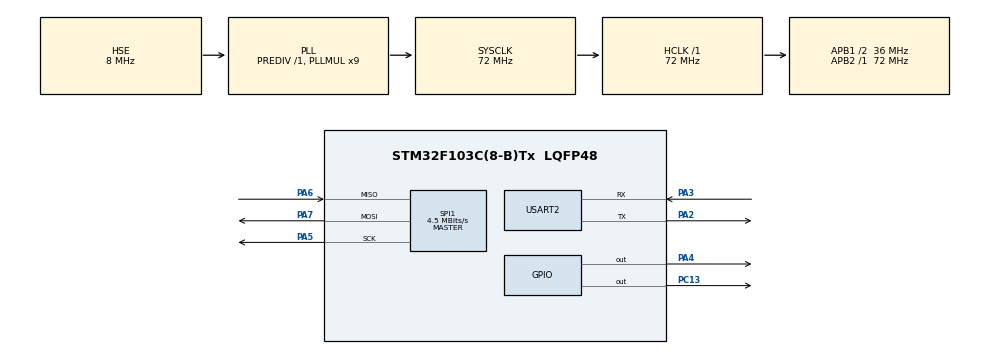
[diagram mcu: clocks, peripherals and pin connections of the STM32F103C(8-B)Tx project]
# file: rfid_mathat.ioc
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Mcu.Family=STM32F1
Mcu.Name=STM32F103C(8-B)Tx
Mcu.Package=LQFP48
NVIC.PriorityGroup=NVIC_PRIORITYGROUP_4
PA13.Mode=Serial_Wire
PA13.Signal=SYS_JTMS-SWDIO
PA14.Mode=Serial_Wire
PA14.Signal=SYS_JTCK-SWCLK
PA2.Mode=Asynchronous
PA2.Signal=USART2_TX
PA3.Mode=Asynchronous
PA3.Signal=USART2_RX
PA4.Signal=GPIO_Output
PA5.Mode=Full_Duplex_Master
PA5.Signal=SPI1_SCK
PA6.Mode=Full_Duplex_Master
PA6.Signal=SPI1_MISO
PA7.Mode=Full_Duplex_Master
PA7.Signal=SPI1_MOSI
PC13-TAMPER-RTC.Signal=GPIO_Output
PD0-OSC_IN.Mode=HSE-External-Oscillator
PD0-OSC_IN.Signal=RCC_OSC_IN
PD1-OSC_OUT.Mode=HSE-External-Oscillator
PD1-OSC_OUT.Signal=RCC_OSC_OUT
ProjectManager.HeapSize=0x200
ProjectManager.StackSize=0x400
ProjectManager.TargetToolchain=STM32CubeIDE
RCC.AHBFreq_Value=72000000
RCC.APB1CLKDivider=RCC_HCLK_DIV2
RCC.APB1Freq_Value=36000000
RCC.APB1TimFreq_Value=72000000
RCC.APB2Freq_Value=72000000
RCC.APB2TimFreq_Value=72000000
RCC.HCLKFreq_Value=72000000
RCC.PLLMUL=RCC_PLL_MUL9
RCC.PLLSourceVirtual=RCC_PLLSOURCE_HSE
RCC.SYSCLKFreq_VALUE=72000000
RCC.SYSCLKSource=RCC_SYSCLKSOURCE_PLLCLK
RCC.USBFreq_Value=72000000
SPI1.BaudRatePrescaler=SPI_BAUDRATEPRESCALER_16
SPI1.CalculateBaudRate=4.5 MBits/s
SPI1.Direction=SPI_DIRECTION_2LINES
SPI1.Mode=SPI_MODE_MASTER
SPI1.VirtualType=VM_MASTER
USART2.VirtualMode=VM_ASYNC
board=custom

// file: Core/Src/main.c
/* USER CODE BEGIN Header */
/**
 ******************************************************************************
 * @file           : main.c
 * @brief          : Main program body
 ******************************************************************************
 * @attention
 *
 * Copyright (c) 2023 STMicroelectronics.
 * All rights reserved.
 *
 * This software is licensed under terms that can be found in the LICENSE file
 * in the root directory of this software component.
 * If no LICENSE file comes with this software, it is provided AS-IS.
 *
 ******************************************************************************
 */
/* USER CODE END Header */
#include "main.h"
#include "rc522.h"
#include "stdio.h"
#include <string.h>
#include <stdlib.h>

SPI_HandleTypeDef hspi1;

UART_HandleTypeDef huart2;
#define AUTH_ERR 4
#define TAG_SELECT_ERR 3
#define ANTICOL_ERR 2
#define REQUEST_ERR 1
#define READ_ERR 5
#define WRITE_ERR 6

uint8_t FinalData[255];
void SystemClock_Config(void);
static void MX_GPIO_Init(void);
static void MX_SPI1_Init(void);
static void MX_USART2_UART_Init(void);

/* USER CODE BEGIN 0 */
uint8_t MFRC522_Check(uint8_t *id);
uint8_t MFRC522_Compare(uint8_t *CardID, uint8_t *CompareID);
void MFRC522_WriteRegister(uint8_t addr, uint8_t val);
uint8_t MFRC522_ReadRegister(uint8_t addr);
void MFRC522_SetBitMask(uint8_t reg, uint8_t mask);
void MFRC522_ClearBitMask(uint8_t reg, uint8_t mask);
uint8_t MFRC522_Request(uint8_t reqMode, uint8_t *TagType);
uint8_t MFRC522_ToCard(uint8_t command, uint8_t *sendData, uint8_t sendLen,
		uint8_t *backData, uint16_t *backLen);
uint8_t MFRC522_Anticoll(uint8_t *serNum);
void MFRC522_CalulateCRC(uint8_t *pIndata, uint8_t len, uint8_t *pOutData);
uint8_t MFRC522_SelectTag(uint8_t *serNum);
uint8_t MFRC522_Auth(uint8_t authMode, uint8_t BlockAddr, uint8_t *Sectorkey,
		uint8_t *serNum);
uint8_t MFRC522_Read(uint8_t blockAddr, uint8_t *recvData);
uint8_t MFRC522_Write(uint8_t blockAddr, uint8_t *writeData);
void MFRC522_Init(void);
void MFRC522_Reset(void);
void MFRC522_AntennaOn(void);
void MFRC522_AntennaOff(void);
void MFRC522_Halt(void);
/* USER CODE END 0 */

void led(uint8_t n) {
	for (uint8_t i = 0; i < n; i++) {
		HAL_GPIO_WritePin(GPIOC, GPIO_PIN_13, GPIO_PIN_RESET);    // LED1 ON
		HAL_Delay(100);
		HAL_GPIO_WritePin(GPIOC, GPIO_PIN_13, GPIO_PIN_SET);    // LED1 OFF
		HAL_Delay(100);
	}
}

void cardOperation(uint8_t* finalData){

	uint8_t status;
	uint8_t sectorKeyA[16][16] = { { 0xFF, 0xFF, 0xFF, 0xFF, 0xFF, 0xFF }, { 0xFF,
			0xFF, 0xFF, 0xFF, 0xFF, 0xFF }, { 0xFF, 0xFF, 0xFF, 0xFF, 0xFF, 0xFF },
			{ 0xFF, 0xFF, 0xFF, 0xFF, 0xFF, 0xFF }, };

	uint8_t str[MFRC522_MAX_LEN];
	uint8_t str1[128];
	uint8_t l;
	uint8_t cardIDStatus = 0;
	uint8_t cardReadStatus = 0;
	uint8_t cardWriteStatus = 0;
	uint8_t *p;
	uint8_t IDBuff[64];
	uint8_t WriteDataBuff[64];
	uint8_t ReadDataBuff[64];

	uint8_t* generate_random() { //this will generate random number in range 55 to 126 than converted to ASCII
		uint8_t i;
		static uint8_t chars[20];

		srand(HAL_GetTick());

		for (i = 0; i < 16; i++) {
			uint8_t rand_num = (rand() % (126 - 55 + 1)) + 55;
			chars[i] = rand_num;
		}
		return chars;

	}

	while (cardWriteStatus == 0 && cardIDStatus == 0 && cardReadStatus == 0) {
		MFRC522_Init();
		if (!MFRC522_Request(PICC_REQIDL, str)) {
			if (!MFRC522_Anticoll(str)) {

				sprintf((char*) IDBuff, "{\"terminalID\":\"164522975789130\", cardID:\"%x%x%x%x%x\", ", str[0],str[1], str[2], str[3], str[4]);

				l = strlen((char*)IDBuff);

				memcpy(finalData, IDBuff, l);

				cardIDStatus = 1;

			}
		}

	}

	p = generate_random();

	HAL_Delay(20);
	MFRC522_Init();
	while (cardReadStatus == 0 && cardIDStatus == 1 && cardWriteStatus == 0) {
		MFRC522_Init();
		status = MFRC522_Request(PICC_REQIDL, str);
		if (status == MI_OK) {
			status = MFRC522_Anticoll(str);
			if (status == MI_OK) {
				status = MFRC522_SelectTag(str);
				if (status != 0) {
					status = MFRC522_Auth(PICC_AUTHENT1A, 2, sectorKeyA[2],
							str); //authenticate card
					if (status == MI_OK) {
						status = MFRC522_Read(2, str1); //read the 2 sector
						if (status == MI_OK) {

							sprintf((char*) ReadDataBuff, "\"currentToken\": \"%c%c%c%c%c%c%c%c%c%c%c%c%c%c%c%c\", ", str1[0], str1[1], str1[2], str1[3], str1[4], str1[5], str1[6], str1[7], str1[8], str1[9], str1[10], str1[11],str1[12], str1[13], str1[14], str1[15]);

							memcpy(finalData + l, ReadDataBuff, strlen((char*)ReadDataBuff));

							l = l + strlen((char*)ReadDataBuff);

							cardReadStatus = 1;
						}

						if (status == MI_ERR) {
							led(READ_ERR);
							cardIDStatus = 0;
							break;

						}
					}
					if (status != MI_OK) {
						led(AUTH_ERR);
						cardIDStatus = 0;
						break;
					}
				}
				if (status != MI_OK) {
					led(TAG_SELECT_ERR);
					cardIDStatus = 0;
					break;
				}

			}
			if (status != MI_OK) {
				led(ANTICOL_ERR);
				cardIDStatus = 0;
				break;
			}

		}
		if (status != MI_OK) {
			led(REQUEST_ERR);
			cardIDStatus = 0;
			break;
		}
	}
	HAL_Delay(20);
	MFRC522_Init();
	while (cardWriteStatus == 0 && cardIDStatus == 1 && cardReadStatus == 1 ) {
		MFRC522_Init();
		status = MFRC522_Request(PICC_REQIDL, str);
		if (status == MI_OK) {
			status = MFRC522_Anticoll(str);
			if (status == MI_OK) {
				status = MFRC522_SelectTag(str);
				if (status != 0) {
					status = MFRC522_Auth(PICC_AUTHENT1A, 2, sectorKeyA[2],
							str);
					if (status == MI_OK) {
						status = MFRC522_Write(2, p);
						if (status == MI_OK) {

							sprintf((char*) WriteDataBuff,
									"\"futureToken\": \"%c%c%c%c%c%c%c%c%c%c%c%c%c%c%c%c\"}\n\r",
									*(p), *(p + 1), *(p + 2), *(p + 3),
									*(p + 4), *(p + 5), *(p + 6), *(p + 7),
									*(p + 8), *(p + 9), *(p + 10),
									*(p + 11), *(p + 12), *(p + 13),
									*(p + 14), *(p + 15));

							memcpy(finalData + l, WriteDataBuff, strlen((char*)WriteDataBuff));

							cardWriteStatus = 1;
						}

						if (status != MI_OK) {
							led(WRITE_ERR);
							cardIDStatus = 0;
							cardReadStatus = 0;
							break;

						}
					}
					if(status != MI_OK){
						led(AUTH_ERR);
						cardIDStatus = 0;
						cardReadStatus = 0;
						break;
					}
				}
				if(status != MI_OK){
					led(TAG_SELECT_ERR);
					cardIDStatus = 0;
					cardReadStatus = 0;
					break;
				}

			}
			if(status != MI_OK){
				led(ANTICOL_ERR);
				cardIDStatus = 0;
				cardReadStatus = 0;
				break;
			}
		}
		if(status != MI_OK){
			led(REQUEST_ERR);
			cardIDStatus = 0;
			cardReadStatus = 0;
			break;
		}
	}
	if(cardWriteStatus == 1 && cardIDStatus == 1 && cardReadStatus == 1){

		cardIDStatus = 0;
		cardReadStatus = 0;
		cardWriteStatus = 0;

	}
	else{
		cardOperation(FinalData);
	}
}

int main(void) {

	/* MCU Configuration--------------------------------------------------------*/

	/* Reset of all peripherals, Initializes the Flash interface and the Systick.
	 *
	 */
	HAL_Init();

	/* Configure the system clock */
	SystemClock_Config();

	/* Initialize all configured peripherals */
	MX_GPIO_Init();
	MX_SPI1_Init();
	MX_USART2_UART_Init();
	/* USER CODE BEGIN 2 */
	MFRC522_Init();
	led(3);

	/* USER CODE END 2 */

	/* Infinite loop */
	/* USER CODE BEGIN WHILE */
	while (1) {
		HAL_Delay(500);
      cardOperation(FinalData);
      HAL_UART_Transmit(&huart2, FinalData, sizeof FinalData/ sizeof FinalData[0], 1000);
      memset(FinalData, 0, sizeof(FinalData));

	}

	/* USER CODE END 3 */
}

void SystemClock_Config(void) {
	RCC_OscInitTypeDef RCC_OscInitStruct = { 0 };
	RCC_ClkInitTypeDef RCC_ClkInitStruct = { 0 };

	/** Initializes the RCC Oscillators according to the specified parameters
	 * in the RCC_OscInitTypeDef structure.
	 */
	RCC_OscInitStruct.OscillatorType = RCC_OSCILLATORTYPE_HSE;
	RCC_OscInitStruct.HSEState = RCC_HSE_ON;
	RCC_OscInitStruct.HSEPredivValue = RCC_HSE_PREDIV_DIV1;
	RCC_OscInitStruct.HSIState = RCC_HSI_ON;
	RCC_OscInitStruct.PLL.PLLState = RCC_PLL_ON;
	RCC_OscInitStruct.PLL.PLLSource = RCC_PLLSOURCE_HSE;
	RCC_OscInitStruct.PLL.PLLMUL = RCC_PLL_MUL9;
	if (HAL_RCC_OscConfig(&RCC_OscInitStruct) != HAL_OK) {
		Error_Handler();
	}

	/** Initializes the CPU, AHB and APB buses clocks
	 */
	RCC_ClkInitStruct.ClockType = RCC_CLOCKTYPE_HCLK | RCC_CLOCKTYPE_SYSCLK
			| RCC_CLOCKTYPE_PCLK1 | RCC_CLOCKTYPE_PCLK2;
	RCC_ClkInitStruct.SYSCLKSource = RCC_SYSCLKSOURCE_PLLCLK;
	RCC_ClkInitStruct.AHBCLKDivider = RCC_SYSCLK_DIV1;
	RCC_ClkInitStruct.APB1CLKDivider = RCC_HCLK_DIV2;
	RCC_ClkInitStruct.APB2CLKDivider = RCC_HCLK_DIV1;

	if (HAL_RCC_ClockConfig(&RCC_ClkInitStruct, FLASH_LATENCY_2) != HAL_OK) {
		Error_Handler();
	}
}

static void MX_SPI1_Init(void) {

	/* SPI1 parameter configuration*/
	hspi1.Instance = SPI1;
	hspi1.Init.Mode = SPI_MODE_MASTER;
	hspi1.Init.Direction = SPI_DIRECTION_2LINES;
	hspi1.Init.DataSize = SPI_DATASIZE_8BIT;
	hspi1.Init.CLKPolarity = SPI_POLARITY_LOW;
	hspi1.Init.CLKPhase = SPI_PHASE_1EDGE;
	hspi1.Init.NSS = SPI_NSS_SOFT;
	hspi1.Init.BaudRatePrescaler = SPI_BAUDRATEPRESCALER_16;
	hspi1.Init.FirstBit = SPI_FIRSTBIT_MSB;
	hspi1.Init.TIMode = SPI_TIMODE_DISABLE;
	hspi1.Init.CRCCalculation = SPI_CRCCALCULATION_DISABLE;
	hspi1.Init.CRCPolynomial = 10;
	if (HAL_SPI_Init(&hspi1) != HAL_OK) {
		Error_Handler();
	}

}

static void MX_USART2_UART_Init(void) {

	huart2.Instance = USART2;
	huart2.Init.BaudRate = 115200;
	huart2.Init.WordLength = UART_WORDLENGTH_8B;
	huart2.Init.StopBits = UART_STOPBITS_1;
	huart2.Init.Parity = UART_PARITY_NONE;
	huart2.Init.Mode = UART_MODE_TX_RX;
	huart2.Init.HwFlowCtl = UART_HWCONTROL_NONE;
	huart2.Init.OverSampling = UART_OVERSAMPLING_16;
	if (HAL_UART_Init(&huart2) != HAL_OK) {
		Error_Handler();
	}

}

static void MX_GPIO_Init(void) {
	GPIO_InitTypeDef GPIO_InitStruct = { 0 };

	/* GPIO Ports Clock Enable */
	__HAL_RCC_GPIOC_CLK_ENABLE();
	__HAL_RCC_GPIOD_CLK_ENABLE();
	__HAL_RCC_GPIOA_CLK_ENABLE();

	/*Configure GPIO pin Output Level */
	HAL_GPIO_WritePin(GPIOC, GPIO_PIN_13, GPIO_PIN_RESET);

	/*Configure GPIO pin Output Level */
	HAL_GPIO_WritePin(GPIOA, GPIO_PIN_4, GPIO_PIN_RESET);

	/*Configure GPIO pin : PC13 */
	GPIO_InitStruct.Pin = GPIO_PIN_13;
	GPIO_InitStruct.Mode = GPIO_MODE_OUTPUT_PP;
	GPIO_InitStruct.Pull = GPIO_NOPULL;
	GPIO_InitStruct.Speed = GPIO_SPEED_FREQ_LOW;
	HAL_GPIO_Init(GPIOC, &GPIO_InitStruct);

	/*Configure GPIO pin : PA4 */
	GPIO_InitStruct.Pin = GPIO_PIN_4;
	GPIO_InitStruct.Mode = GPIO_MODE_OUTPUT_PP;
	GPIO_InitStruct.Pull = GPIO_NOPULL;
	GPIO_InitStruct.Speed = GPIO_SPEED_FREQ_LOW;
	HAL_GPIO_Init(GPIOA, &GPIO_InitStruct);

}

void Error_Handler(void) {
	__disable_irq();
	while (1) {
	}
}
